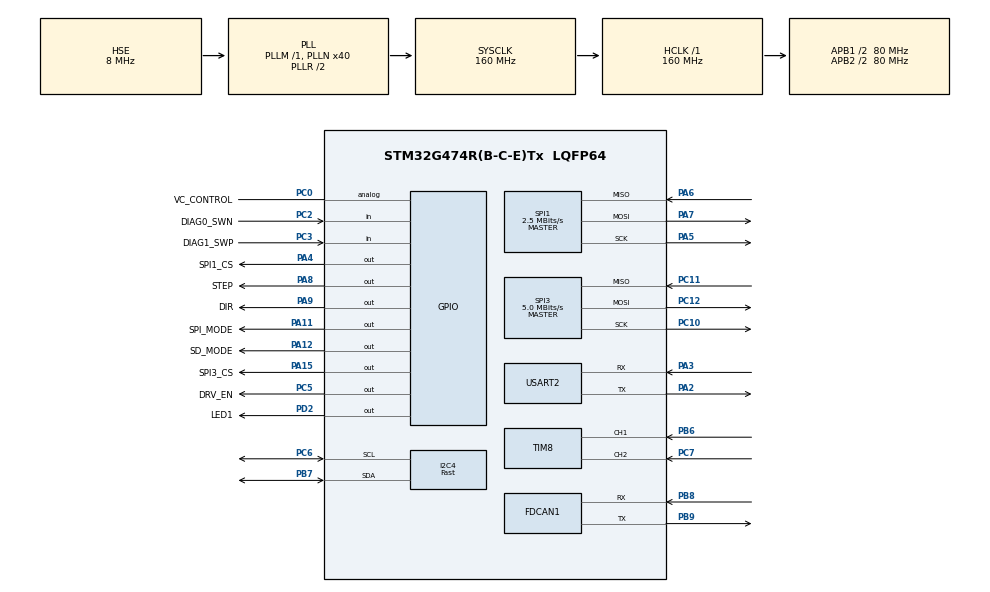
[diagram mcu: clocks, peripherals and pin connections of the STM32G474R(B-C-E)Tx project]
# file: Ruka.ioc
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Dma.I2C4_RX.0.Direction=DMA_PERIPH_TO_MEMORY
Dma.I2C4_RX.0.EventEnable=DISABLE
Dma.I2C4_RX.0.Instance=DMA1_Channel1
Dma.I2C4_RX.0.MemDataAlignment=DMA_MDATAALIGN_BYTE
Dma.I2C4_RX.0.MemInc=DMA_MINC_ENABLE
Dma.I2C4_RX.0.Mode=DMA_NORMAL
Dma.I2C4_RX.0.PeriphDataAlignment=DMA_PDATAALIGN_BYTE
Dma.I2C4_RX.0.PeriphInc=DMA_PINC_DISABLE
Dma.I2C4_RX.0.Polarity=HAL_DMAMUX_REQ_GEN_RISING
Dma.I2C4_RX.0.Priority=DMA_PRIORITY_LOW
Dma.I2C4_RX.0.RequestNumber=1
Dma.I2C4_RX.0.SignalID=NONE
Dma.I2C4_RX.0.SyncEnable=DISABLE
Dma.I2C4_RX.0.SyncPolarity=HAL_DMAMUX_SYNC_NO_EVENT
Dma.I2C4_RX.0.SyncRequestNumber=1
Dma.I2C4_RX.0.SyncSignalID=NONE
Dma.I2C4_TX.1.Direction=DMA_MEMORY_TO_PERIPH
Dma.I2C4_TX.1.EventEnable=DISABLE
Dma.I2C4_TX.1.Instance=DMA1_Channel2
Dma.I2C4_TX.1.MemDataAlignment=DMA_MDATAALIGN_BYTE
Dma.I2C4_TX.1.MemInc=DMA_MINC_ENABLE
Dma.I2C4_TX.1.Mode=DMA_NORMAL
Dma.I2C4_TX.1.PeriphDataAlignment=DMA_PDATAALIGN_BYTE
Dma.I2C4_TX.1.PeriphInc=DMA_PINC_DISABLE
Dma.I2C4_TX.1.Polarity=HAL_DMAMUX_REQ_GEN_RISING
Dma.I2C4_TX.1.Priority=DMA_PRIORITY_LOW
Dma.I2C4_TX.1.RequestNumber=1
Dma.I2C4_TX.1.SignalID=NONE
Dma.I2C4_TX.1.SyncEnable=DISABLE
Dma.I2C4_TX.1.SyncPolarity=HAL_DMAMUX_SYNC_NO_EVENT
Dma.I2C4_TX.1.SyncRequestNumber=1
Dma.I2C4_TX.1.SyncSignalID=NONE
Dma.Request0=I2C4_RX
Dma.Request1=I2C4_TX
FDCAN1.AutoRetransmission=ENABLE
FDCAN1.CalculateBaudRateNominal=1000000
FDCAN1.CalculateTimeBitNominal=1000
FDCAN1.CalculateTimeQuantumNominal=25.0
FDCAN1.DataPrescaler=4
FDCAN1.DataSyncJumpWidth=1
FDCAN1.DataTimeSeg1=2
FDCAN1.DataTimeSeg2=2
FDCAN1.ExtFiltersNbr=3
FDCAN1.FrameFormat=FDCAN_FRAME_FD_BRS
FDCAN1.NominalPrescaler=4
FDCAN1.NominalTimeSeg1=29
FDCAN1.NominalTimeSeg2=10
FDCAN1.StdFiltersNbr=0
FDCAN1.TransmitPause=ENABLE
I2C4.CustomTiming=Disabled
I2C4.I2C_Fall_Time=0
I2C4.I2C_Rise_Time=0
I2C4.I2C_Speed_Mode=I2C_Fast
I2C4.NoStretchMode=I2C_NOSTRETCH_DISABLE
I2C4.Timing=0x00702991
Mcu.Family=STM32G4
Mcu.Name=STM32G474R(B-C-E)Tx
Mcu.Package=LQFP64
NVIC.DMA1_Channel1_IRQn=true\:0\:0\:false\:false\:true\:false\:true\:true
NVIC.DMA1_Channel2_IRQn=true\:0\:0\:false\:false\:true\:false\:true\:true
NVIC.I2C4_ER_IRQn=true\:0\:0\:false\:false\:true\:true\:true\:true
NVIC.I2C4_EV_IRQn=true\:0\:0\:false\:false\:true\:true\:true\:true
NVIC.PriorityGroup=NVIC_PRIORITYGROUP_4
NVIC.SPI1_IRQn=true\:0\:0\:false\:false\:true\:true\:true\:true
NVIC.USART2_IRQn=true\:0\:0\:false\:false\:true\:true\:true\:true
PA11.GPIO_Label=SPI_MODE
PA11.Signal=GPIO_Output
PA12.GPIO_Label=SD_MODE
PA12.Signal=GPIO_Output
PA15.GPIO_Label=SPI3_CS
PA15.Signal=GPIO_Output
PA2.Mode=Asynchronous
PA2.Signal=USART2_TX
PA3.Mode=Asynchronous
PA3.Signal=USART2_RX
PA4.GPIO_Label=SPI1_CS
PA4.Signal=GPIO_Output
PA5.Mode=Full_Duplex_Master
PA5.Signal=SPI1_SCK
PA6.Mode=Full_Duplex_Master
PA6.Signal=SPI1_MISO
PA7.Mode=Full_Duplex_Master
PA7.Signal=SPI1_MOSI
PA8.GPIO_Label=STEP
PA8.Signal=GPIO_Output
PA9.GPIO_Label=DIR
PA9.Signal=GPIO_Output
PB6.Signal=S_TIM8_CH1
PB7.GPIO_Pu=GPIO_NOPULL
PB7.GPIO_Speed=GPIO_SPEED_FREQ_LOW
PB7.Mode=I2C
PB7.Signal=I2C4_SDA
PB8-BOOT0.Mode=FDCAN_Activate
PB8-BOOT0.Signal=FDCAN1_RX
PB9.Mode=FDCAN_Activate
PB9.Signal=FDCAN1_TX
PC0.GPIO_Label=VC_CONTROL
PC0.Signal=GPIO_Analog
PC10.Mode=Full_Duplex_Master
PC10.Signal=SPI3_SCK
PC11.Mode=Full_Duplex_Master
PC11.Signal=SPI3_MISO
PC12.Mode=Full_Duplex_Master
PC12.Signal=SPI3_MOSI
PC2.GPIO_Label=DIAG0_SWN
PC2.Signal=GPIO_Input
PC3.GPIO_Label=DIAG1_SWP
PC3.Signal=GPIO_Input
PC5.GPIO_Label=DRV_EN
PC5.Signal=GPIO_Output
PC6.GPIO_Pu=GPIO_NOPULL
PC6.GPIO_Speed=GPIO_SPEED_FREQ_LOW
PC6.Mode=I2C
PC6.Signal=I2C4_SCL
PC7.Signal=S_TIM8_CH2
PD2.GPIO_Label=LED1
PD2.Signal=GPIO_Output
PF0-OSC_IN.Mode=HSE-External-Oscillator
PF0-OSC_IN.Signal=RCC_OSC_IN
PF1-OSC_OUT.Mode=HSE-External-Oscillator
PF1-OSC_OUT.Signal=RCC_OSC_OUT
ProjectManager.HeapSize=0x200
ProjectManager.StackSize=0x400
ProjectManager.TargetToolchain=CMake
RCC.ADC12Freq_Value=160000000
RCC.ADC345Freq_Value=160000000
RCC.AHBFreq_Value=160000000
RCC.APB1CLKDivider=RCC_HCLK_DIV2
RCC.APB1Freq_Value=80000000
RCC.APB1TimFreq_Value=160000000
RCC.APB2CLKDivider=RCC_HCLK_DIV2
RCC.APB2Freq_Value=80000000
RCC.APB2TimFreq_Value=160000000
RCC.CortexFreq_Value=160000000
RCC.EXTERNAL_CLOCK_VALUE=12288000
RCC.FDCANCLockSelection=RCC_FDCANCLKSOURCE_PLL
RCC.HCLKFreq_Value=160000000
RCC.HSE_VALUE=8000000
RCC.HSI48_VALUE=48000000
RCC.HSI_VALUE=16000000
RCC.LSE_VALUE=32768
RCC.PLLN=40
RCC.PLLSourceVirtual=RCC_PLLSOURCE_HSE
RCC.SYSCLKFreq_VALUE=160000000
RCC.SYSCLKSource=RCC_SYSCLKSOURCE_PLLCLK
RCC.USBFreq_Value=160000000
RCC.VCOOutputFreq_Value=320000000
SH.S_TIM8_CH1.0=TIM8_CH1,Encoder_Interface
SH.S_TIM8_CH2.0=TIM8_CH2,Encoder_Interface
SPI1.BaudRatePrescaler=SPI_BAUDRATEPRESCALER_32
SPI1.CLKPhase=SPI_PHASE_2EDGE
SPI1.CLKPolarity=SPI_POLARITY_HIGH
SPI1.CalculateBaudRate=2.5 MBits/s
SPI1.DataSize=SPI_DATASIZE_8BIT
SPI1.Direction=SPI_DIRECTION_2LINES
SPI1.Mode=SPI_MODE_MASTER
SPI1.VirtualType=VM_MASTER
SPI3.BaudRatePrescaler=SPI_BAUDRATEPRESCALER_16
SPI3.CLKPhase=SPI_PHASE_2EDGE
SPI3.CalculateBaudRate=5.0 MBits/s
SPI3.DataSize=SPI_DATASIZE_16BIT
SPI3.Direction=SPI_DIRECTION_2LINES
SPI3.Mode=SPI_MODE_MASTER
SPI3.VirtualType=VM_MASTER
USART2.VirtualMode-Asynchronous=VM_ASYNC
VP_SYS_VS_DBSignals.Mode=DisableDeadBatterySignals
board=custom

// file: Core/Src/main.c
/* USER CODE BEGIN Header */
/**
  ******************************************************************************
  * @file           : main.c
  * @brief          : Main program body
  ******************************************************************************
  * @attention
  *
  * Copyright (c) 2024 STMicroelectronics.
  * All rights reserved.
  *
  * This software is licensed under terms that can be found in the LICENSE file
  * in the root directory of this software component.
  * If no LICENSE file comes with this software, it is provided AS-IS.
  *
  ******************************************************************************
  */
/* USER CODE END Header */
#include "main.h"
#include "dma.h"
#include "fdcan.h"
#include "i2c.h"
#include "spi.h"
#include "tim.h"
#include "usart.h"
#include "gpio.h"

/* USER CODE BEGIN Includes */
#include "as50xx.h"
#include "bootloader_request.h"
#include "communications.h"
#include "motor.h"
#include "robot_config.h"
#include "system_watchdog.h"
#include "tmc5160.h"

/* USER CODE END Includes */

void SystemClock_Config(void);

int main(void)
{

  /* MCU Configuration--------------------------------------------------------*/

  /* Reset of all peripherals, Initializes the Flash interface and the Systick. */
  HAL_Init();

  /* USER CODE BEGIN Init */
  system_watchdog_capture_reset_reason();
  /* USER CODE END Init */

  /* Configure the system clock */
  SystemClock_Config();

  /* Initialize all configured peripherals */
  MX_GPIO_Init();
  MX_DMA_Init();
  MX_FDCAN1_Init();
  MX_USART2_UART_Init();
  MX_SPI1_Init();
  MX_SPI3_Init();
  MX_TIM8_Init();
  MX_I2C4_Init();
  /* USER CODE BEGIN 2 */
  cyphal_can_starter(&hfdcan1);
  setup_cyphal(&hfdcan1);
  HAL_Delay(10);
  motor_init();
  HAL_Delay(100);
  if (!system_watchdog_start()) {
    Error_Handler();
  }
  /* USER CODE END 2 */

  /* Infinite loop */
  /* USER CODE BEGIN WHILE */

  uint32_t last_hbeat = HAL_GetTick();
  uint32_t last_motor_update = HAL_GetTick();
  uint32_t last_js = HAL_GetTick();

  while (1)
  {
      uint32_t now = HAL_GetTick();
      bool motor_cycle_completed = false;
      if ( (now - last_hbeat) >= 1000) {
          last_hbeat = now;
          heartbeat();
      }
      if ( (now - last_motor_update) >= MOTOR_UPDATE_PERIOD_MS) {
          last_motor_update = now;
          motor_update(now);
          motor_cycle_completed = true;
      }
      if ( (now - last_js) >= 50) {
          last_js = now;
          send_JS();
      }
      cyphal_loop();
      bootloader_request_process();
      if (motor_cycle_completed) {
          system_watchdog_refresh();
      }
  }
    /* USER CODE END WHILE */

}

void SystemClock_Config(void)
{
  RCC_OscInitTypeDef RCC_OscInitStruct = {0};
  RCC_ClkInitTypeDef RCC_ClkInitStruct = {0};

  /** Configure the main internal regulator output voltage
  */
  HAL_PWREx_ControlVoltageScaling(PWR_REGULATOR_VOLTAGE_SCALE1_BOOST);

  /** Initializes the RCC Oscillators according to the specified parameters
  * in the RCC_OscInitTypeDef structure.
  */
  RCC_OscInitStruct.OscillatorType = RCC_OSCILLATORTYPE_HSE;
  RCC_OscInitStruct.HSEState = RCC_HSE_ON;
  RCC_OscInitStruct.PLL.PLLState = RCC_PLL_ON;
  RCC_OscInitStruct.PLL.PLLSource = RCC_PLLSOURCE_HSE;
  RCC_OscInitStruct.PLL.PLLM = RCC_PLLM_DIV1;
  RCC_OscInitStruct.PLL.PLLN = 40;
  RCC_OscInitStruct.PLL.PLLP = RCC_PLLP_DIV2;
  RCC_OscInitStruct.PLL.PLLQ = RCC_PLLQ_DIV2;
  RCC_OscInitStruct.PLL.PLLR = RCC_PLLR_DIV2;
  if (HAL_RCC_OscConfig(&RCC_OscInitStruct) != HAL_OK)
  {
    Error_Handler();
  }

  /** Initializes the CPU, AHB and APB buses clocks
  */
  RCC_ClkInitStruct.ClockType = RCC_CLOCKTYPE_HCLK|RCC_CLOCKTYPE_SYSCLK
                              |RCC_CLOCKTYPE_PCLK1|RCC_CLOCKTYPE_PCLK2;
  RCC_ClkInitStruct.SYSCLKSource = RCC_SYSCLKSOURCE_PLLCLK;
  RCC_ClkInitStruct.AHBCLKDivider = RCC_SYSCLK_DIV1;
  RCC_ClkInitStruct.APB1CLKDivider = RCC_HCLK_DIV2;
  RCC_ClkInitStruct.APB2CLKDivider = RCC_HCLK_DIV2;

  if (HAL_RCC_ClockConfig(&RCC_ClkInitStruct, FLASH_LATENCY_4) != HAL_OK)
  {
    Error_Handler();
  }
}

void Error_Handler(void)
{
  __disable_irq();
  while (1)
  {
  }
}
